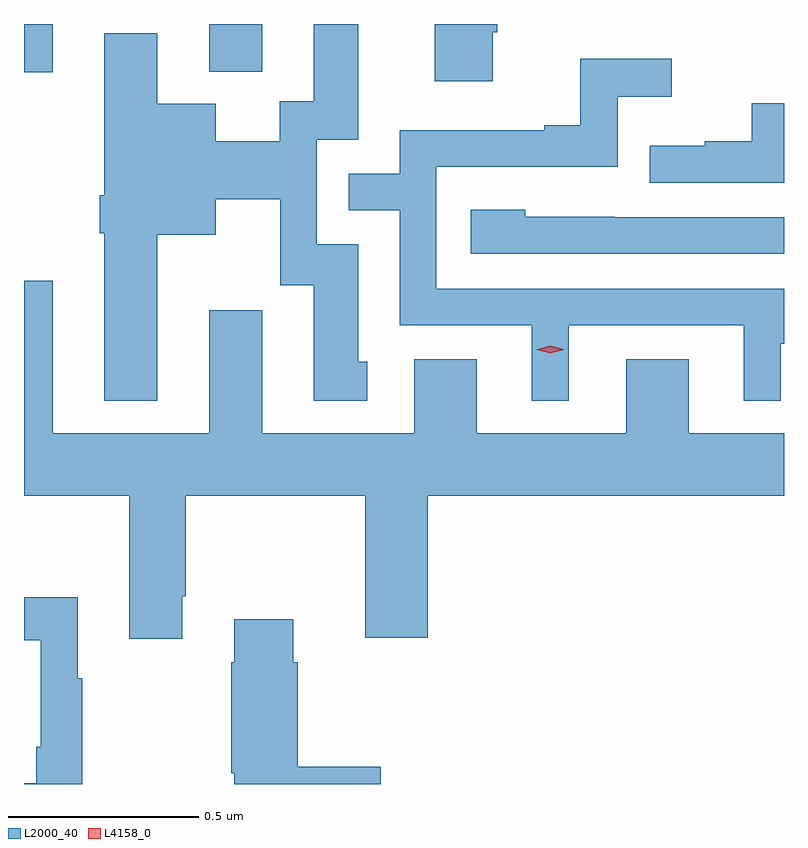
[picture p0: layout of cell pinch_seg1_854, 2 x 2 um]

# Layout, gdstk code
import gdstk
lib = gdstk.Library(unit=1e-6, precision=1e-09)
def R(c, l, rs):  # rectangles x0, y0, x1, y1
    for r in rs: c.add(gdstk.rectangle(r[:2], r[2:], *l))
def P(c, l, *ps):  # polygons
    for p in ps: c.add(gdstk.Polygon(p, *l))
L2000_40 = (2000, 40)
L4158_0 = (4158, 0)

pinch_seg1_854 = lib.new_cell('pinch_seg1_854')
R(pinch_seg1_854, L2000_40, [(463.81,582.15,463.885,582.277), (464.297,582.152,464.437,582.277)])
P(pinch_seg1_854, L2000_40, [(465.043,582.255),(465.056,582.255),(465.056,582.277),(464.891,582.277),(464.891,582.126),(465.043,582.126)],
  [(464.161,581.723),(464.314,581.723),(464.314,581.816),(464.484,581.816),(464.484,581.589),(464.573,581.589),(464.573,581.286),(464.713,581.286),(464.713,581.388),(464.689,581.388),(464.689,581.697),(464.58,581.697),(464.58,581.973),(464.689,581.973),(464.689,582.277),(464.573,582.277),(464.573,582.074),(464.483,582.074),(464.483,581.968),(464.314,581.968),(464.314,582.067),(464.161,582.067),(464.161,582.253),(464.021,582.253),(464.021,581.827),(464.009,581.827),(464.009,581.727),(464.021,581.727),(464.021,581.285),(464.161,581.285)],
  [(465.244,581.484),(465.704,581.484),(465.704,581.285),(465.802,581.285),(465.802,581.436),(465.81,581.436),(465.81,581.58),(464.895,581.58),(464.895,581.901),(465.372,581.901),(465.372,582.086),(465.514,582.086),(465.514,582.185),(465.274,582.185),(465.274,582.01),(465.179,582.01),(465.179,581.997),(464.799,581.997),(464.799,581.883),(464.665,581.883),(464.665,581.787),(464.799,581.787),(464.799,581.484),(465.146,581.484),(465.146,581.285),(465.244,581.285)],
  [(465.81,582.069),(465.725,582.069),(465.725,581.968),(465.601,581.968),(465.601,581.956),(465.457,581.956),(465.457,581.859),(465.81,581.859)],
  [(465.81,581.769),(465.365,581.769),(465.365,581.77),(465.129,581.77),(465.129,581.788),(464.985,581.788),(464.985,581.673),(465.81,581.673)],
  [(463.885,581.602),(463.81,581.602),(463.81,581.036),(464.087,581.036),(464.087,580.659),(464.227,580.659),(464.227,580.771),(464.235,580.771),(464.235,581.036),(464.708,581.036),(464.708,580.662),(464.872,580.662),(464.872,581.036),(465.81,581.036),(465.81,581.2),(465.559,581.2),(465.559,581.395),(465.395,581.395),(465.395,581.2),(465.001,581.2),(465.001,581.395),(464.837,581.395),(464.837,581.2),(464.437,581.2),(464.437,581.524),(464.297,581.524),(464.297,581.2),(463.885,581.2)],
  [(463.963,580.555),(463.951,580.555),(463.951,580.768),(463.81,580.768),(463.81,580.655),(463.854,580.655),(463.854,580.375),(463.842,580.375),(463.842,580.279),(463.81,580.279),(463.81,580.277),(463.963,580.277)],
  [(464.749,580.322),(464.531,580.322),(464.531,580.598),(464.518,580.598),(464.518,580.711),(464.363,580.711),(464.363,580.598),(464.356,580.598),(464.356,580.305),(464.363,580.305),(464.363,580.277),(464.749,580.277)])
P(pinch_seg1_854, L4158_0, [(465.195,581.41),(465.16,581.42),(465.159,581.42),(465.16,581.421),(465.195,581.43),(465.23,581.421),(465.231,581.42),(465.23,581.42)])

lib.write_gds('pinch_seg1_854.gds')
